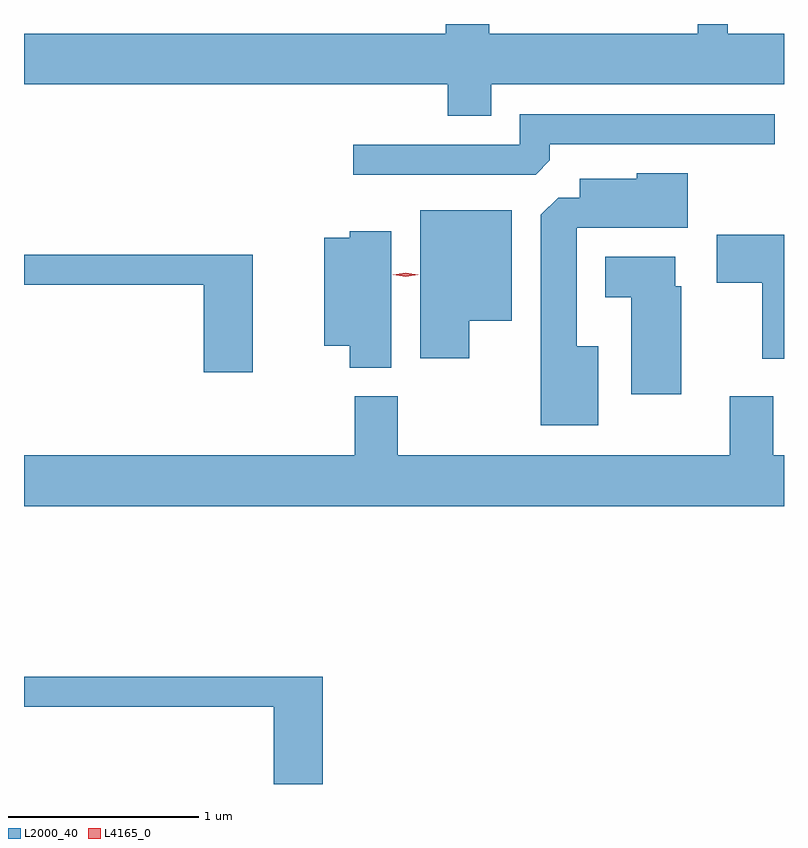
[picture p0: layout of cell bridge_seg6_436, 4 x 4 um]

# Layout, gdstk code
import gdstk
lib = gdstk.Library(unit=1e-6, precision=1e-09)
def P(c, l, *ps):  # polygons
    for p in ps: c.add(gdstk.Polygon(p, *l))
L2000_40 = (2000, 40)
L4165_0 = (4165, 0)

bridge_seg6_436 = lib.new_cell('bridge_seg6_436')
P(bridge_seg6_436, L2000_40, [(630.439,1654.376),(631.981,1654.376),(631.981,1654.644),(631.684,1654.644),(631.684,1654.694),(631.526,1654.694),(631.526,1654.644),(630.429,1654.644),(630.429,1654.694),(630.201,1654.694),(630.201,1654.644),(627.981,1654.644),(627.981,1654.376),(630.211,1654.376),(630.211,1654.211),(630.439,1654.211)],
  [(630.749,1653.977),(630.749,1654.061),(631.933,1654.061),(631.933,1654.219),(630.591,1654.219),(630.591,1654.059),(629.713,1654.059),(629.713,1653.901),(630.674,1653.901)],
  [(631.004,1652.999),(630.889,1652.999),(630.889,1653.621),(631.474,1653.621),(631.474,1653.909),(631.206,1653.909),(631.206,1653.879),(630.906,1653.879),(630.906,1653.779),(630.792,1653.779),(630.701,1653.689),(630.701,1652.581),(631.004,1652.581)],
  [(630.324,1653.131),(630.549,1653.131),(630.549,1653.714),(630.066,1653.714),(630.066,1652.936),(630.324,1652.936)],
  [(629.914,1653.604),(629.696,1653.604),(629.696,1653.569),(629.561,1653.569),(629.561,1653.001),(629.696,1653.001),(629.696,1652.886),(629.914,1652.886)],
  [(631.981,1653.584),(631.626,1653.584),(631.626,1653.331),(631.866,1653.331),(631.866,1652.931),(631.981,1652.931)],
  [(629.184,1653.479),(627.981,1653.479),(627.981,1653.321),(628.926,1653.321),(628.926,1652.861),(629.184,1652.861)],
  [(631.439,1653.314),(631.409,1653.314),(631.409,1653.469),(631.041,1653.469),(631.041,1653.256),(631.176,1653.256),(631.176,1652.746),(631.439,1652.746)],
  [(631.981,1652.424),(631.924,1652.424),(631.924,1652.734),(631.696,1652.734),(631.696,1652.424),(629.949,1652.424),(629.949,1652.734),(629.721,1652.734),(629.721,1652.424),(627.981,1652.424),(627.981,1652.156),(631.981,1652.156)],
  [(629.554,1651.259),(627.981,1651.259),(627.981,1651.101),(629.296,1651.101),(629.296,1650.694),(629.554,1650.694)])
P(bridge_seg6_436, L4165_0, [(629.989,1653.364),(629.923,1653.373),(629.922,1653.374),(629.923,1653.374),(629.989,1653.384),(630.056,1653.375),(630.056,1653.374),(630.056,1653.374)])

lib.write_gds('bridge_seg6_436.gds')
